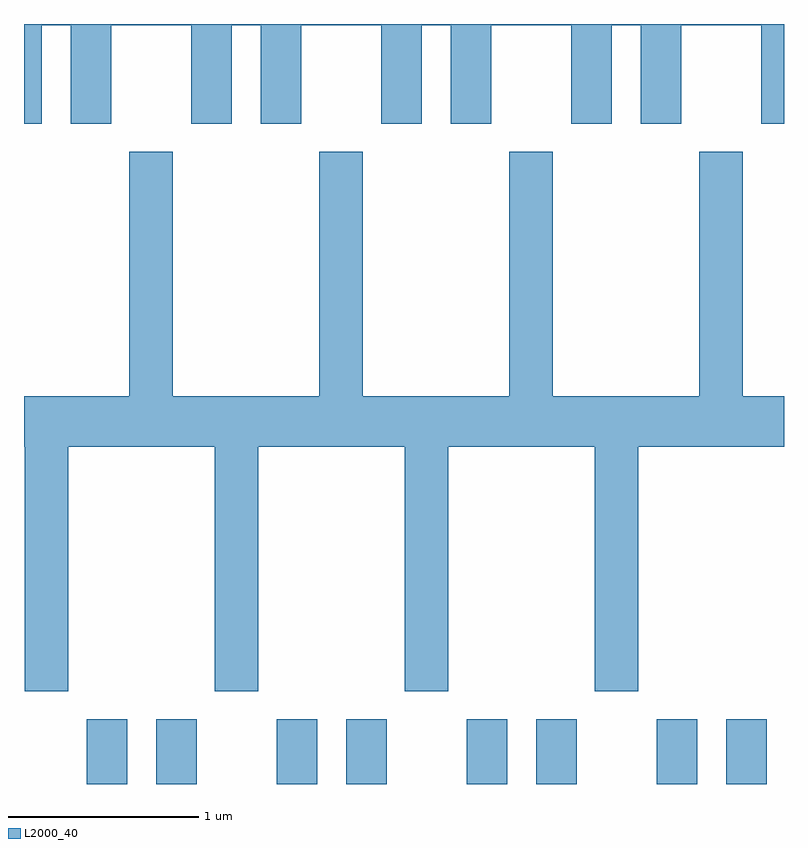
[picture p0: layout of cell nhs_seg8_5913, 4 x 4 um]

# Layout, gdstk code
import gdstk
lib = gdstk.Library(unit=1e-6, precision=1e-09)
def R(c, l, rs):  # rectangles x0, y0, x1, y1
    for r in rs: c.add(gdstk.rectangle(r[:2], r[2:], *l))
def P(c, l, *ps):  # polygons
    for p in ps: c.add(gdstk.Polygon(p, *l))
L2000_40 = (2000, 40)

nhs_seg8_5913 = lib.new_cell('nhs_seg8_5913')
R(nhs_seg8_5913, L2000_40, [(361.941,1912.342,362.154,1912.684), (362.306,1912.342,362.519,1912.684), (362.941,1912.342,363.154,1912.684), (363.306,1912.342,363.519,1912.684), (363.941,1912.342,364.154,1912.684), (364.306,1912.342,364.519,1912.684), (364.941,1912.342,365.154,1912.684), (365.306,1912.342,365.519,1912.684)])
P(nhs_seg8_5913, L2000_40, [(361.611,1915.816),(361.704,1915.816),(361.704,1916.336),(361.856,1916.336),(361.856,1915.816),(362.069,1915.816),(362.069,1916.336),(362.491,1916.336),(362.491,1915.816),(362.704,1915.816),(362.704,1916.336),(362.856,1916.336),(362.856,1915.816),(363.069,1915.816),(363.069,1916.336),(363.491,1916.336),(363.491,1915.816),(363.704,1915.816),(363.704,1916.336),(363.856,1916.336),(363.856,1915.816),(364.069,1915.816),(364.069,1916.336),(364.491,1916.336),(364.491,1915.816),(364.704,1915.816),(364.704,1916.336),(364.856,1916.336),(364.856,1915.816),(365.069,1915.816),(365.069,1916.336),(365.491,1916.336),(365.491,1915.816),(365.611,1915.816),(365.611,1916.342),(361.611,1916.342)],
  [(364.394,1915.669),(364.166,1915.669),(364.166,1914.384),(363.394,1914.384),(363.394,1915.669),(363.166,1915.669),(363.166,1914.384),(362.394,1914.384),(362.394,1915.669),(362.166,1915.669),(362.166,1914.384),(361.611,1914.384),(361.611,1914.116),(361.616,1914.116),(361.616,1912.831),(361.844,1912.831),(361.844,1914.116),(362.616,1914.116),(362.616,1912.831),(362.844,1912.831),(362.844,1914.116),(363.616,1914.116),(363.616,1912.831),(363.844,1912.831),(363.844,1914.116),(364.616,1914.116),(364.616,1912.831),(364.844,1912.831),(364.844,1914.116),(365.611,1914.116),(365.611,1914.384),(365.394,1914.384),(365.394,1915.669),(365.166,1915.669),(365.166,1914.384),(364.394,1914.384)])

lib.write_gds('nhs_seg8_5913.gds')
